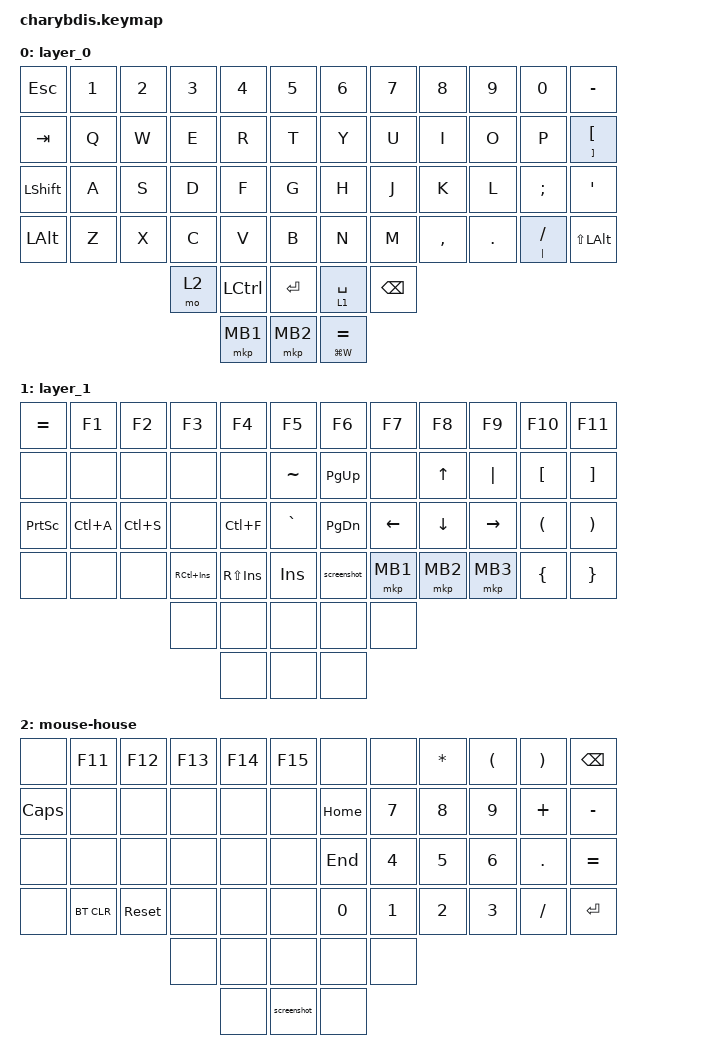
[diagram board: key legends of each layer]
#include <dt-bindings/zmk/mouse.h>
#include <behaviors.dtsi>
#include <dt-bindings/zmk/bt.h>
#include <dt-bindings/zmk/keys.h>
#include <dt-bindings/zmk/pointing.h>

&lt {
    tapping-term-ms = <200>;
    flavor = "balanced";
    quick-tap-ms = <150>;
};

&mt { flavor = "tap-preferred"; };

/ {
    combos { compatible = "zmk,combos"; };

    macros {
        screenshot: lang {
            compatible = "zmk,behavior-macro";
            #binding-cells = <0>;
            bindings = <&kp LEFT_SHIFT &kp LEFT_WIN &kp PRINTSCREEN>;
            label = "LANG";
        };
    };

    keymap {
        compatible = "zmk,keymap";

        layer_0 {
            bindings = <
&kp ESCAPE      &kp N1  &kp N2  &kp N3  &kp N4     &kp N5      &kp N6           &kp N7         &kp N8     &kp N9      &kp N0         &kp MINUS
&kp TAB         &kp Q   &kp W   &kp E   &kp R      &kp T       &kp Y            &kp U          &kp I      &kp O       &kp P          &mt RIGHT_BRACKET LEFT_BRACKET
&kp LEFT_SHIFT  &kp A   &kp S   &kp D   &kp F      &kp G       &kp H            &kp J          &kp K      &kp L       &kp SEMI       &kp SQT
&kp LEFT_ALT    &kp Z   &kp X   &kp C   &kp V      &kp B       &kp N            &kp M          &kp COMMA  &kp PERIOD  &mt PIPE FSLH  &kp LS(LEFT_ALT)
                                &mo 2   &kp LCTRL  &kp RET     &lt 1 SPACE      &kp BACKSPACE
                                        &mkp MB1   &mkp MB2    &mt LG(W) EQUAL
            >;
        };

        layer_1 {
            bindings = <
&kp EQUAL        &kp F1     &kp F2     &kp F3          &kp F4          &kp F5       &kp F6         &kp F7    &kp F8    &kp F9     &kp F10               &kp F11
&none            &none      &none      &none           &none           &kp TILDE    &kp PG_UP      &none     &kp UP    &kp PIPE   &kp LEFT_BRACKET      &kp RIGHT_BRACKET
&kp PRINTSCREEN  &kp LC(A)  &kp LC(S)  &none           &kp LC(F)       &kp GRAVE    &kp PAGE_DOWN  &kp LEFT  &kp DOWN  &kp RIGHT  &kp LEFT_PARENTHESIS  &kp RIGHT_PARENTHESIS
&none            &none      &none      &kp RC(INSERT)  &kp RS(INSERT)  &kp INS      &screenshot    &mkp MB1  &mkp MB2  &mkp MB3   &kp LEFT_BRACE        &kp RIGHT_BRACE
                                       &none           &none           &none        &none          &none
                                                       &none           &none        &none
            >;
        };

        mouse-house {
            bindings = <
&none     &kp F11     &kp F12     &kp F13  &kp F14  &kp F15        &none     &none   &kp ASTERISK  &kp LEFT_PARENTHESIS  &kp RIGHT_PARENTHESIS  &kp BACKSPACE
&kp CAPS  &none       &none       &none    &none    &none          &kp HOME  &kp N7  &kp N8        &kp N9                &kp PLUS               &kp MINUS
&none     &none       &none       &none    &none    &none          &kp END   &kp N4  &kp N5        &kp N6                &kp PERIOD             &kp EQUAL
&none     &bt BT_CLR  &sys_reset  &none    &none    &none          &kp N0    &kp N1  &kp N2        &kp N3                &kp SLASH              &kp ENTER
                                  &none    &none    &none          &none     &none
                                           &none    &screenshot    &none
            >;
        };

        /* layer_2 {
            bindings = <
&none  &none   &none    &none   &none         &none         &kp N1         &none         &none     &none  &none   &to 0
&none  &none   &none    &none   &none         &none         &none         &none          &rgb_ug RGB_BRD &rgb_ug RGB_BRI  &rgb_ug RGB_EFF   &rgb_ug RGB_TOG
&none  &none   &none    &none   &none         &none         &none         &mkp LCLK     &mkp RCLK  &none  &none   &none
&none  &none   &none    &none   &bt BT_NXT  &bt BT_CLR    &none         &none         &none     &none  &none   &none
                                   &none         &none         &none         &none         &none
                                                 &none         &none         &none
            >;
          trackball-bindings = <&tsl>;
            
        };

       Mouse {
            bindings = <
&none        &none         &none         &none         &none      &none         &none       &none      &none         &none         &none         &none
&none        &bt BT_SEL 0  &bt BT_SEL 1  &bt BT_SEL 3  &none      &bt BT_CLR    &bt BT_CLR  &none      &bt BT_SEL 2  &bt BT_SEL 1  &bt BT_SEL 0  &none
&none        &trans        &trans        &mkp MCLK     &trans     &none         &none       &trans     &mkp MCLK     &trans        &trans        &none
&bootloader  &trans        &mkp RCLK     &mo 4         &mkp LCLK  &mo 5         &mo 5       &mkp LCLK  &mo 4         &mkp RCLK     &trans        &bootloader
                                         &mo 5         &mkp LCLK  &mkp RCLK     &mkp RCLK   &mkp LCLK
                                                       &none      &trans        &trans
            >;

            
        };

        layer_4 {
            bindings = <
&trans  &trans  &trans     &trans     &trans     &trans       &trans     &trans     &trans     &trans     &trans  &trans
&trans  &trans  &trans     &trans     &trans     &trans       &trans     &trans     &trans     &trans     &trans  &trans
&trans  &trans  &trans     &mkp MCLK  &trans     &trans       &trans     &trans     &mkp MCLK  &trans     &trans  &trans
&trans  &trans  &mkp RCLK  &trans     &mkp LCLK  &trans       &trans     &mkp LCLK  &trans     &mkp RCLK  &trans  &trans
                           &trans     &mkp LCLK  &mkp RCLK    &mkp RCLK  &mkp LCLK
                                      &trans     &trans       &trans
            >;
                
                
                trackball-bindings = <&tsl>;
        };

        layer_5 {
            bindings = <
&trans  &trans  &trans     &trans     &trans     &trans       &trans     &trans     &trans     &trans     &trans  &trans
&trans  &trans  &trans     &trans     &trans     &trans       &trans     &trans     &trans     &trans     &trans  &trans
&trans  &trans  &trans     &mkp MCLK  &trans     &trans       &trans     &trans     &mkp MCLK  &trans     &trans  &trans
&trans  &trans  &mkp RCLK  &trans     &mkp LCLK  &trans       &trans     &mkp LCLK  &trans     &mkp RCLK  &trans  &trans
                           &trans     &mkp LCLK  &mkp RCLK    &mkp RCLK  &mkp LCLK
                                      &trans     &trans       &trans
            >;
                trackball-bindings = <&tmv_fine>;
                
        };*/
    };
};
